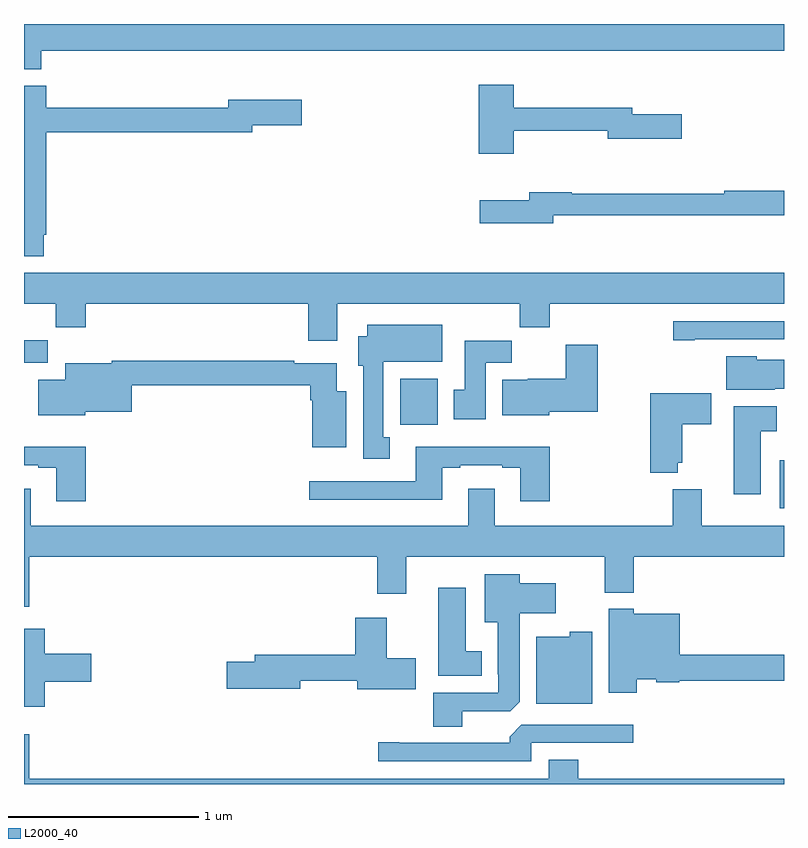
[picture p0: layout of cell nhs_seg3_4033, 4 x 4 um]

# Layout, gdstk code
import gdstk
lib = gdstk.Library(unit=1e-6, precision=1e-09)
def R(c, l, rs):  # rectangles x0, y0, x1, y1
    for r in rs: c.add(gdstk.rectangle(r[:2], r[2:], *l))
def P(c, l, *ps):  # polygons
    for p in ps: c.add(gdstk.Polygon(p, *l))
L2000_40 = (2000, 40)

nhs_seg3_4033 = lib.new_cell('nhs_seg3_4033')
R(nhs_seg3_4033, L2000_40, [(326.978,687.851,327,688.105), (324.98,688.292,325.177,688.534), (323,688.616,323.126,688.735)])
P(nhs_seg3_4033, L2000_40, [(323.09,690.26),(327,690.26),(327,690.4),(323,690.4),(323,690.161),(323.09,690.161)],
  [(325.577,689.838),(326.072,689.838),(326.072,689.795),(326.461,689.795),(326.461,689.925),(326.2,689.925),(326.2,689.959),(325.577,689.959),(325.577,690.079),(325.394,690.079),(325.394,689.718),(325.577,689.718)],
  [(323.104,689.29),(323.117,689.29),(323.117,689.83),(324.202,689.83),(324.202,689.867),(324.463,689.867),(324.463,690.001),(324.074,690.001),(324.074,689.959),(323.117,689.959),(323.117,690.074),(323,690.074),(323,689.178),(323.104,689.178)],
  [(325.786,689.394),(327,689.394),(327,689.522),(326.686,689.522),(326.686,689.507),(325.882,689.507),(325.882,689.515),(325.658,689.515),(325.658,689.473),(325.398,689.473),(325.398,689.351),(325.786,689.351)],
  [(324.649,688.928),(325.609,688.928),(325.609,688.804),(325.766,688.804),(325.766,688.928),(327,688.928),(327,689.092),(323,689.092),(323,688.928),(323.167,688.928),(323.167,688.804),(323.324,688.804),(323.324,688.928),(324.497,688.928),(324.497,688.734),(324.649,688.734)],
  [(326.53,688.74),(327,688.74),(327,688.836),(326.418,688.836),(326.418,688.735),(326.53,688.735)],
  [(324.925,688.226),(324.892,688.226),(324.892,688.622),(325.201,688.622),(325.201,688.816),(324.806,688.816),(324.806,688.756),(324.758,688.756),(324.758,688.602),(324.785,688.602),(324.785,688.113),(324.925,688.113)],
  [(325.429,688.616),(325.568,688.616),(325.568,688.734),(325.319,688.734),(325.319,688.476),(325.262,688.476),(325.262,688.32),(325.429,688.32)],
  [(325.764,688.358),(326.021,688.358),(326.021,688.711),(325.85,688.711),(325.85,688.534),(325.65,688.534),(325.65,688.528),(325.517,688.528),(325.517,688.34),(325.764,688.34)],
  [(326.951,688.479),(327,688.479),(327,688.633),(326.856,688.633),(326.856,688.651),(326.696,688.651),(326.696,688.475),(326.951,688.475)],
  [(324.697,688.468),(324.646,688.468),(324.646,688.614),(324.422,688.614),(324.422,688.627),(323.462,688.627),(323.462,688.615),(323.216,688.615),(323.216,688.528),(323.075,688.528),(323.075,688.34),(323.322,688.34),(323.322,688.358),(323.566,688.358),(323.566,688.498),(324.506,688.498),(324.506,688.421),(324.518,688.421),(324.518,688.172),(324.697,688.172)],
  [(326.442,688.091),(326.464,688.091),(326.464,688.294),(326.617,688.294),(326.617,688.456),(326.297,688.456),(326.297,688.037),(326.442,688.037)],
  [(326.878,688.256),(326.962,688.256),(326.962,688.387),(326.735,688.387),(326.735,687.924),(326.878,687.924)],
  [(323.324,688.174),(323,688.174),(323,688.077),(323.075,688.077),(323.075,688.065),(323.171,688.065),(323.171,687.888),(323.324,687.888)],
  [(325.766,688.174),(325.061,688.174),(325.061,687.993),(324.501,687.993),(324.501,687.896),(325.201,687.896),(325.201,688.065),(325.297,688.065),(325.297,688.077),(325.517,688.077),(325.517,688.065),(325.613,688.065),(325.613,687.888),(325.766,687.888)],
  [(323.027,687.596),(324.86,687.596),(324.86,687.402),(325.012,687.402),(325.012,687.596),(326.057,687.596),(326.057,687.407),(326.21,687.407),(326.21,687.596),(327,687.596),(327,687.76),(326.566,687.76),(326.566,687.952),(326.414,687.952),(326.414,687.76),(325.477,687.76),(325.477,687.955),(325.337,687.955),(325.337,687.76),(323.035,687.76),(323.035,687.955),(323,687.955),(323,687.333),(323.027,687.333)],
  [(325.306,686.784),(325.56,686.784),(325.609,686.833),(325.609,687.299),(325.798,687.299),(325.798,687.457),(325.609,687.457),(325.609,687.505),(325.424,687.505),(325.424,687.251),(325.493,687.251),(325.493,686.977),(325.497,686.977),(325.497,686.88),(325.154,686.88),(325.154,686.701),(325.306,686.701)],
  [(325.408,687.1),(325.324,687.1),(325.324,687.433),(325.181,687.433),(325.181,686.969),(325.408,686.969)],
  [(326.225,686.951),(326.328,686.951),(326.328,686.936),(326.448,686.936),(326.448,686.944),(327,686.944),(327,687.08),(326.452,687.08),(326.452,687.295),(326.208,687.295),(326.208,687.322),(326.078,687.322),(326.078,686.88),(326.225,686.88)],
  [(325.063,687.063),(324.91,687.063),(324.91,687.274),(324.743,687.274),(324.743,687.08),(324.215,687.08),(324.215,687.044),(324.066,687.044),(324.066,686.902),(324.454,686.902),(324.454,686.944),(324.755,686.944),(324.755,686.9),(325.063,686.9)],
  [(323.11,686.939),(323.353,686.939),(323.353,687.086),(323.11,687.086),(323.11,687.217),(323,687.217),(323,686.807),(323.11,686.807)],
  [(325.99,687.202),(325.872,687.202),(325.872,687.175),(325.697,687.175),(325.697,686.822),(325.99,686.822)],
  [(325.671,686.616),(326.206,686.616),(326.206,686.712),(325.617,686.712),(325.556,686.65),(325.556,686.616),(324.976,686.616),(324.976,686.621),(324.864,686.621),(324.864,686.52),(325.671,686.52)],
  [(325.763,686.527),(325.763,686.428),(323.027,686.428),(323.027,686.662),(323,686.662),(323,686.4),(327,686.4),(327,686.428),(325.916,686.428),(325.916,686.527)])

lib.write_gds('nhs_seg3_4033.gds')
